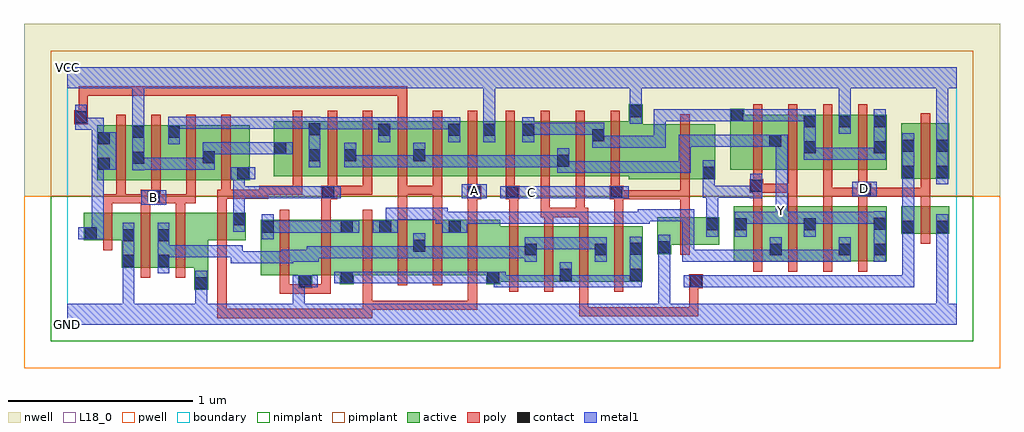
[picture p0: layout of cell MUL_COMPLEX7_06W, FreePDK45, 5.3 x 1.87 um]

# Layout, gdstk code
import gdstk
lib = gdstk.Library(unit=1e-6, precision=1e-09)
def R(c, l, rs):  # rectangles x0, y0, x1, y1
    for r in rs: c.add(gdstk.rectangle(r[:2], r[2:], *l))
def A(c, l, x, y, w, h, nx, ny, dx, dy):  # array of equal rectangles
    R(c, l, [(x+i*dx, y+j*dy, x+i*dx+w, y+j*dy+h) for i in range(nx) for j in range(ny)])
active = (1, 0)
pwell = (2, 0)
nwell = (3, 0)
nimplant = (4, 0)
pimplant = (5, 0)
poly = (9, 0)
contact = (10, 0)
metal1 = (11, 0)
L18_0 = (18, 0)
boundary = (235, 0)

mul_complex7_06w = lib.new_cell('MUL_COMPLEX7_06W')
A(mul_complex7_06w, active, 2.48, 0.235, 0.265, 0.3, 3, 1, 0.19, 0)
A(mul_complex7_06w, active, 1.685, 0.807, 0.265, 0.3, 3, 1, 0.19, 0)
R(mul_complex7_06w, active, [(0.69,0.19,0.765,0.46), (1.255,0.2,1.33,0.55), (1.48,0.22,1.555,0.57), (2.275,0.22,2.35,0.405), (2.275,0.235,2.555,0.535), (2.67,0.235,2.745,0.42), (3.05,0.235,3.125,0.535), (1.05,0.27,1.33,0.57), (1.255,0.27,1.555,0.57), (1.48,0.27,1.765,0.57), (1.69,0.27,1.95,0.57), (1.875,0.27,2.142,0.57), (2.067,0.27,2.35,0.57), (0.295,0.31,0.56,0.61), (0.295,0.31,0.37,0.525), (0.485,0.31,0.765,0.61), (0.485,0.31,0.56,0.525), (1.05,0.33,1.125,0.57), (1.875,0.33,1.95,0.57), (2.48,0.33,2.555,0.447), (2.86,0.33,2.935,0.447), (1.69,0.345,1.765,0.57), (2.067,0.345,2.142,0.57), (3.62,0.345,3.695,0.645), (3.62,0.345,3.885,0.645), (3.81,0.345,3.885,0.645), (3.81,0.345,4.07,0.645), (3.995,0.345,4.26,0.645), (3.995,0.345,4.07,0.585), (4.185,0.345,4.45,0.645), (4.185,0.345,4.26,0.447), (4.375,0.345,4.45,0.645), (3.205,0.385,3.28,0.585), (3.205,0.435,3.54,0.585), (0.09,0.46,0.165,0.61), (0.09,0.46,0.37,0.61), (0.69,0.46,0.97,0.61), (0.895,0.46,0.97,0.61), (3.465,0.495,3.54,0.585), (4.53,0.495,4.605,0.645), (4.53,0.495,4.79,0.645), (4.715,0.495,4.79,0.645), (0.162,0.785,0.422,1.085), (0.162,0.785,0.237,1.055), (0.347,0.785,0.422,1.085), (0.347,0.785,0.617,1.085), (0.542,0.785,0.617,1.085), (0.542,0.785,0.807,1.085), (0.732,0.785,0.992,1.085), (0.732,0.785,0.807,1.055), (0.917,0.785,0.992,0.94), (3.05,0.79,3.52,1.09), (3.445,0.79,3.52,0.94), (4.53,0.795,4.79,1.095), (4.53,0.795,4.605,1.055), (4.715,0.795,4.79,1.055), (1.12,0.807,1.38,1.107), (1.12,0.807,1.195,1.07), (1.305,0.807,1.38,1.107), (1.305,0.807,1.575,1.107), (1.5,0.807,1.76,1.107), (1.5,0.807,1.575,1.055), (1.685,0.807,1.76,1.107), (2.255,0.807,2.54,1.107), (2.465,0.807,2.73,1.107), (2.655,0.807,2.92,1.107), (2.845,0.807,3.125,1.107), (3.6,0.842,3.882,1.142), (3.807,0.842,4.07,1.142), (3.995,0.842,4.26,1.142), (4.185,0.842,4.45,1.142), (4.375,0.842,4.45,1.142), (2.845,0.85,2.92,1.067), (2.065,0.852,2.14,1.107), (2.255,0.852,2.33,1.107), (2.655,0.855,2.73,1.07), (2.465,0.872,2.54,1.107), (1.875,0.885,1.95,1.055), (3.995,0.927,4.07,1.142), (3.807,0.962,3.882,1.07), (3.05,0.98,3.125,1.197), (3.6,0.995,3.675,1.175), (4.185,1.007,4.26,1.142)])
R(mul_complex7_06w, pwell, [(-0.235,-0.235,5.065,0.7)])
R(mul_complex7_06w, nwell, [(-0.235,0.7,5.065,1.635)])
R(mul_complex7_06w, nimplant, [(-0.09,-0.09,4.92,0.7)])
R(mul_complex7_06w, pimplant, [(-0.09,0.7,4.92,1.49)])
A(mul_complex7_06w, poly, 2.4, 0.18, 0.05, 0.41, 4, 1, 0.19, 0)
A(mul_complex7_06w, poly, 1.155, 0.215, 0.05, 0.41, 3, 1, 0.225, 0)
A(mul_complex7_06w, poly, 1.795, 0.215, 0.05, 0.41, 3, 1, 0.19, 0)
A(mul_complex7_06w, poly, 3.725, 0.29, 0.05, 0.41, 4, 2, 0.19, 0.497)
A(mul_complex7_06w, poly, 1.225, 0.707, 0.05, 0.095, 6, 1, 0.19, 0)
A(mul_complex7_06w, poly, 1.605, 0.707, 0.05, 0.05, 3, 1, 0.19, 0)
A(mul_complex7_06w, poly, 0.267, 0.73, 0.05, 0.41, 4, 1, 0.19, 0)
A(mul_complex7_06w, poly, 1.225, 0.752, 0.05, 0.41, 6, 1, 0.19, 0)
A(mul_complex7_06w, poly, 2.38, 0.752, 0.05, 0.41, 4, 1, 0.19, 0)
R(mul_complex7_06w, poly, [(0.815,0.037,0.865,0.087), (0.815,0.037,0.865,0.087), (0.815,0.037,0.865,0.087), (0.815,0.037,0.865,0.087), (0.815,0.037,0.865,0.087), (0.815,0.037,0.865,0.087), (0.815,0.037,0.865,0.087), (0.815,0.037,1.205,0.087), (0.815,0.037,0.865,0.455), (1.155,0.037,1.205,0.087), (1.155,0.037,1.205,0.087), (1.155,0.037,1.205,0.087), (1.155,0.037,1.337,0.087), (1.287,0.037,1.337,0.087), (1.287,0.037,1.337,0.087), (1.287,0.037,1.337,0.087), (1.287,0.037,1.655,0.087), (1.605,0.037,1.655,0.132), (1.605,0.037,1.655,0.087), (1.605,0.037,1.655,0.087), (1.605,0.037,1.655,0.087), (2.78,0.047,2.83,0.097), (2.78,0.047,2.83,0.097), (2.78,0.047,2.83,0.097), (2.78,0.047,3.155,0.097), (2.78,0.047,2.83,0.23), (3.105,0.047,3.155,0.097), (3.105,0.047,3.155,0.097), (3.105,0.047,3.155,0.097), (3.105,0.047,3.427,0.097), (3.377,0.047,3.427,0.097), (3.377,0.047,3.427,0.097), (3.377,0.047,3.427,0.097), (3.377,0.047,3.427,0.25), (1.605,0.082,1.655,0.132), (1.605,0.082,1.655,0.265), (1.605,0.082,1.845,0.132), (1.795,0.082,1.845,0.132), (1.795,0.082,1.845,0.132), (1.795,0.082,1.845,0.132), (1.795,0.082,1.977,0.132), (1.927,0.082,1.977,0.132), (1.927,0.082,1.977,0.132), (1.927,0.082,1.977,0.132), (1.927,0.082,2.225,0.132), (2.175,0.082,2.225,0.132), (2.175,0.082,2.225,0.132), (2.175,0.082,2.225,0.132), (2.175,0.082,2.225,0.265), (1.155,0.17,1.205,0.265), (1.155,0.17,1.205,0.22), (1.155,0.17,1.43,0.22), (1.38,0.17,1.43,0.265), (1.38,0.17,1.43,0.22), (1.38,0.17,1.43,0.22), (1.38,0.17,1.43,0.22), (3.377,0.2,3.452,0.275), (0.4,0.255,0.45,0.665), (0.59,0.255,0.64,0.665), (3.33,0.38,3.38,0.64), (0.195,0.405,0.245,0.665), (0.815,0.405,0.865,0.665), (4.635,0.44,4.685,0.7), (2.4,0.54,2.45,0.732), (2.59,0.54,2.64,0.635), (2.78,0.54,2.83,0.635), (2.97,0.54,3.02,0.732), (1.38,0.575,1.43,0.732), (1.795,0.575,1.845,0.757), (1.985,0.575,2.035,0.757), (2.175,0.575,2.225,0.732), (2.57,0.585,2.62,0.802), (2.57,0.585,2.64,0.635), (2.59,0.585,2.64,0.635), (2.59,0.585,2.64,0.635), (2.59,0.585,2.81,0.635), (2.76,0.585,2.81,0.802), (2.76,0.585,2.83,0.635), (3.33,0.59,3.38,0.732), (0.195,0.615,0.245,0.71), (0.4,0.615,0.45,0.71), (0.59,0.615,0.64,0.71), (0.815,0.615,0.865,0.735), (3.725,0.65,3.775,0.767), (3.915,0.65,3.965,0.767), (4.105,0.65,4.155,0.745), (4.295,0.65,4.345,0.745), (4.635,0.65,4.685,0.745), (0.195,0.66,0.317,0.71), (0.267,0.66,0.317,0.71), (0.267,0.66,0.317,0.71), (0.267,0.66,0.317,0.78), (0.267,0.66,0.45,0.71), (0.4,0.66,0.507,0.735), (0.457,0.66,0.507,0.71), (0.457,0.66,0.507,0.71), (0.457,0.66,0.64,0.71), (0.59,0.66,0.697,0.71), (0.647,0.66,0.697,0.78), (1.38,0.682,1.465,0.757), (2.172,0.682,2.247,0.757), (2.38,0.682,2.455,0.757), (2.945,0.682,3.02,0.757), (2.97,0.682,3.02,0.732), (2.97,0.682,3.02,0.732), (2.97,0.682,3.38,0.732), (3.33,0.682,3.38,0.732), (3.33,0.682,3.38,0.732), (3.33,0.682,3.38,0.732), (3.33,0.682,3.38,0.785), (0.457,0.685,0.507,0.78), (0.815,0.685,0.887,0.735), (0.837,0.685,0.887,0.78), (0.837,0.685,0.887,0.735), (0.837,0.685,0.887,0.735), (0.837,0.685,1.092,0.735), (1.042,0.685,1.092,0.757), (4.105,0.695,4.155,0.745), (4.105,0.695,4.155,0.745), (4.105,0.695,4.155,0.745), (4.105,0.695,4.342,0.745), (4.105,0.695,4.155,0.837), (4.292,0.695,4.367,0.77), (4.317,0.695,4.367,0.745), (4.317,0.695,4.367,0.745), (4.317,0.695,4.685,0.745), (4.635,0.695,4.685,0.79), (4.635,0.695,4.685,0.745), (4.635,0.695,4.685,0.745), (4.635,0.695,4.685,0.745), (1.042,0.707,1.275,0.757), (1.225,0.707,1.275,0.757), (1.415,0.707,1.655,0.757), (1.605,0.707,1.655,0.757), (1.605,0.707,1.655,0.757), (1.795,0.707,2.035,0.757), (1.985,0.707,2.035,0.757), (1.985,0.707,2.035,0.757), (2.38,0.707,2.43,0.802), (2.95,0.707,3,0.802), (3.705,0.717,3.78,0.792), (3.73,0.717,3.78,0.767), (3.73,0.717,3.78,0.767), (3.73,0.717,3.965,0.767), (3.915,0.717,3.965,0.767), (3.915,0.717,3.965,0.837), (4.295,0.72,4.345,0.837), (3.33,0.735,3.38,1.145), (4.635,0.74,4.685,1.15), (3.725,0.742,3.775,0.837), (0.037,1.09,0.112,1.165), (1.795,1.112,1.845,1.295), (0.062,1.115,0.112,1.295), (0.062,1.245,0.112,1.295), (0.062,1.245,0.112,1.295), (0.062,1.245,0.112,1.295), (0.062,1.245,0.317,1.295), (0.267,1.245,0.317,1.295), (0.267,1.245,0.317,1.295), (0.267,1.245,0.317,1.295), (0.267,1.245,0.507,1.295), (0.457,1.245,0.507,1.295), (0.457,1.245,0.507,1.295), (0.457,1.245,0.507,1.295), (0.457,1.245,0.64,1.295), (0.59,1.245,0.64,1.295), (0.59,1.245,0.64,1.295), (0.59,1.245,0.64,1.295), (0.59,1.245,0.83,1.295), (0.78,1.245,0.83,1.295), (0.78,1.245,0.83,1.295), (0.78,1.245,0.83,1.295), (0.78,1.245,1.205,1.295), (1.155,1.245,1.205,1.295), (1.155,1.245,1.205,1.295), (1.155,1.245,1.205,1.295), (1.155,1.245,1.337,1.295), (1.287,1.245,1.337,1.295), (1.287,1.245,1.337,1.295), (1.287,1.245,1.337,1.295), (1.287,1.245,1.655,1.295), (1.605,1.245,1.655,1.295), (1.605,1.245,1.655,1.295), (1.605,1.245,1.655,1.295), (1.605,1.245,1.845,1.295), (1.795,1.245,1.845,1.295), (1.795,1.245,1.845,1.295), (1.795,1.245,1.845,1.295)])
A(mul_complex7_06w, contact, 4, 1.072, 0.065, 0.065, 3, 1, 0.19, 0)
R(mul_complex7_06w, contact, [(0.695,0.195,0.76,0.26), (1.26,0.205,1.325,0.27), (3.382,0.205,3.447,0.27), (1.485,0.225,1.55,0.29), (2.28,0.225,2.345,0.29), (2.675,0.24,2.74,0.305), (3.055,0.24,3.12,0.305), (0.3,0.315,0.365,0.38), (0.49,0.315,0.555,0.38), (2.485,0.377,2.55,0.442), (2.865,0.377,2.93,0.442), (3.815,0.377,3.88,0.442), (4.19,0.377,4.255,0.442), (4.38,0.377,4.445,0.442), (3.055,0.38,3.12,0.445), (3.21,0.39,3.275,0.455), (1.88,0.397,1.945,0.462), (0.3,0.455,0.365,0.52), (0.49,0.455,0.555,0.52), (0.095,0.465,0.16,0.53), (1.055,0.5,1.12,0.565), (1.485,0.5,1.55,0.565), (1.695,0.5,1.76,0.565), (2.072,0.5,2.137,0.565), (4.535,0.5,4.6,0.565), (4.72,0.5,4.785,0.565), (3.47,0.515,3.535,0.58), (3.625,0.515,3.69,0.58), (4,0.515,4.065,0.58), (4.38,0.517,4.445,0.582), (0.9,0.54,0.965,0.605), (0.437,0.665,0.502,0.73), (1.385,0.687,1.45,0.752), (2.177,0.687,2.242,0.752), (2.385,0.687,2.45,0.752), (2.95,0.687,3.015,0.752), (4.297,0.7,4.362,0.765), (3.71,0.722,3.775,0.787), (0.922,0.79,0.987,0.855), (3.45,0.795,3.515,0.86), (4.535,0.8,4.6,0.865), (4.72,0.8,4.785,0.865), (0.167,0.842,0.232,0.907), (2.66,0.86,2.725,0.925), (0.352,0.875,0.417,0.94), (0.737,0.877,0.802,0.942), (1.31,0.89,1.375,0.955), (1.505,0.89,1.57,0.955), (1.88,0.89,1.945,0.955), (1.125,0.927,1.19,0.992), (4,0.932,4.065,0.997), (4.38,0.932,4.445,0.997), (4.535,0.94,4.6,1.005), (4.72,0.94,4.785,1.005), (3.812,0.967,3.877,1.032), (0.167,0.982,0.232,1.047), (2.85,0.997,2.915,1.062), (0.352,1.015,0.417,1.08), (0.547,1.015,0.612,1.08), (1.69,1.027,1.755,1.092), (2.07,1.027,2.135,1.092), (2.26,1.027,2.325,1.092), (2.47,1.027,2.535,1.092), (1.31,1.03,1.375,1.095), (0.042,1.095,0.107,1.16), (3.605,1.105,3.67,1.17), (3.055,1.127,3.12,1.192)])
R(mul_complex7_06w, metal1, [(0,0,4.83,0.115), (0.3,0.05,0.365,0.115), (0.3,0.05,0.365,0.115), (0.3,0.05,0.365,0.115), (0.3,0.05,0.365,0.115), (0.3,0.05,0.365,0.345), (0.695,0.05,0.76,0.115), (0.695,0.05,0.76,0.115), (0.695,0.05,0.76,0.225), (1.225,0.05,1.29,0.115), (1.225,0.05,1.29,0.115), (1.225,0.05,1.29,0.115), (1.225,0.05,1.29,0.115), (1.225,0.05,1.29,0.27), (3.21,0.05,3.275,0.115), (3.21,0.05,3.275,0.115), (3.21,0.05,3.275,0.115), (3.21,0.05,3.275,0.115), (3.21,0.05,3.275,0.115), (3.21,0.05,3.275,0.115), (3.21,0.05,3.275,0.42), (4.72,0.05,4.785,0.115), (4.72,0.05,4.785,0.115), (4.72,0.05,4.785,0.115), (4.72,0.05,4.785,0.115), (4.72,0.05,4.785,0.115), (4.72,0.05,4.785,0.115), (4.72,0.05,4.785,0.53), (0.695,0.16,0.76,0.225), (0.695,0.16,0.76,0.225), (0.695,0.16,0.76,0.295), (1.225,0.205,1.36,0.27), (2.315,0.205,2.587,0.27), (2.315,0.205,2.38,0.29), (2.522,0.205,2.587,0.27), (2.522,0.205,2.622,0.27), (2.557,0.205,2.622,0.27), (2.557,0.205,2.74,0.27), (2.675,0.205,2.74,0.34), (2.675,0.205,2.76,0.27), (2.695,0.205,2.76,0.27), (2.695,0.205,2.982,0.27), (2.917,0.205,2.982,0.27), (2.917,0.205,2.982,0.27), (2.917,0.205,2.982,0.27), (2.917,0.205,3.12,0.27), (3.055,0.205,3.12,0.48), (3.347,0.205,3.482,0.27), (3.417,0.205,3.482,0.27), (3.417,0.205,3.482,0.27), (3.417,0.205,3.672,0.27), (3.607,0.205,3.672,0.27), (3.607,0.205,3.672,0.27), (3.607,0.205,3.672,0.27), (3.607,0.205,3.912,0.27), (3.847,0.205,3.912,0.27), (3.847,0.205,3.912,0.27), (3.847,0.205,3.912,0.27), (3.847,0.205,4.065,0.27), (4,0.205,4.065,0.27), (4,0.205,4.065,0.27), (4,0.205,4.065,0.27), (4,0.205,4.307,0.27), (4.242,0.205,4.307,0.27), (4.242,0.205,4.307,0.27), (4.242,0.205,4.307,0.27), (4.242,0.205,4.6,0.27), (4.535,0.205,4.6,0.27), (4.535,0.205,4.6,0.27), (4.535,0.205,4.6,0.27), (4.535,0.205,4.6,0.53), (1.45,0.225,1.585,0.29), (1.52,0.225,1.585,0.29), (1.52,0.225,1.585,0.29), (1.52,0.225,1.807,0.29), (1.742,0.225,1.807,0.29), (1.742,0.225,1.807,0.29), (1.742,0.225,1.807,0.29), (1.742,0.225,1.965,0.29), (1.9,0.225,1.965,0.29), (1.9,0.225,1.965,0.29), (1.9,0.225,1.965,0.29), (1.9,0.225,2.102,0.29), (2.037,0.225,2.102,0.29), (2.037,0.225,2.202,0.29), (2.137,0.225,2.202,0.29), (2.137,0.225,2.31,0.29), (2.245,0.225,2.38,0.29), (2.315,0.225,2.38,0.29), (0.3,0.28,0.365,0.555), (0.49,0.28,0.555,0.555), (0.887,0.335,0.952,0.4), (0.887,0.335,0.952,0.4), (0.887,0.335,1.227,0.4), (0.887,0.335,0.952,0.432), (1.162,0.335,1.227,0.407), (1.162,0.342,1.365,0.407), (1.3,0.342,1.365,0.427), (2.485,0.342,2.55,0.477), (2.865,0.342,2.93,0.477), (3.34,0.342,3.405,0.407), (3.34,0.342,3.412,0.407), (3.34,0.342,3.405,0.627), (3.347,0.342,3.412,0.407), (3.347,0.342,3.672,0.407), (3.607,0.342,3.672,0.407), (3.607,0.342,3.672,0.407), (3.607,0.342,3.672,0.407), (3.607,0.342,3.88,0.407), (3.815,0.342,3.88,0.477), (3.815,0.342,3.912,0.407), (3.847,0.342,3.912,0.407), (3.847,0.342,4.05,0.407), (3.985,0.342,4.05,0.407), (3.985,0.342,4.05,0.407), (3.985,0.342,4.05,0.407), (3.985,0.342,4.255,0.407), (4.19,0.342,4.255,0.477), (4.38,0.342,4.445,0.617), (3.21,0.355,3.275,0.49), (1.3,0.362,1.365,0.427), (1.3,0.362,1.365,0.427), (1.3,0.362,1.515,0.427), (1.45,0.362,1.515,0.427), (1.45,0.362,1.515,0.427), (1.45,0.362,1.515,0.427), (1.45,0.362,1.807,0.427), (1.742,0.362,1.807,0.427), (1.742,0.362,1.807,0.427), (1.742,0.362,1.807,0.427), (1.742,0.362,1.945,0.427), (1.88,0.362,1.945,0.427), (1.88,0.362,1.945,0.427), (1.88,0.362,1.945,0.497), (1.88,0.362,2.172,0.427), (2.107,0.362,2.172,0.427), (2.107,0.362,2.202,0.427), (2.137,0.362,2.202,0.427), (2.137,0.362,2.38,0.427), (2.315,0.362,2.38,0.427), (2.315,0.362,2.38,0.427), (2.315,0.362,2.38,0.427), (2.315,0.362,2.55,0.427), (0.49,0.367,0.555,0.432), (0.49,0.367,0.555,0.432), (0.49,0.367,0.815,0.432), (0.75,0.367,0.815,0.432), (0.75,0.367,0.815,0.432), (0.75,0.367,0.815,0.432), (0.75,0.367,0.952,0.432), (2.485,0.412,2.622,0.477), (2.557,0.412,2.622,0.477), (2.557,0.412,2.777,0.477), (2.712,0.412,2.777,0.477), (2.712,0.412,2.777,0.477), (2.712,0.412,2.777,0.477), (2.712,0.412,2.93,0.477), (0.06,0.465,0.195,0.53), (0.13,0.465,0.195,0.53), (0.13,0.465,0.197,0.53), (0.132,0.465,0.197,0.907), (1.055,0.465,1.12,0.6), (4.535,0.465,4.6,0.6), (4.72,0.465,4.785,0.6), (3.47,0.48,3.535,0.615), (3.625,0.48,3.69,0.615), (4,0.48,4.065,0.615), (1.055,0.5,1.12,0.565), (1.055,0.5,1.12,0.565), (1.055,0.5,1.365,0.565), (1.3,0.5,1.365,0.565), (1.3,0.5,1.365,0.565), (1.3,0.5,1.365,0.565), (1.3,0.5,1.515,0.565), (1.45,0.5,1.585,0.565), (1.66,0.5,1.795,0.565), (1.73,0.5,1.795,0.565), (1.73,0.5,1.795,0.635), (2.037,0.5,2.172,0.615), (0.9,0.505,0.965,0.64), (4.535,0.535,4.6,0.6), (4.535,0.535,4.6,0.6), (4.535,0.535,4.6,0.6), (4.535,0.535,4.6,0.6), (4.535,0.535,4.6,0.83), (2,0.55,2.065,0.635), (2,0.55,2.102,0.615), (2.107,0.55,2.202,0.615), (2.137,0.55,2.202,0.615), (2.137,0.55,2.38,0.615), (2.315,0.55,2.38,0.615), (2.315,0.55,2.38,0.615), (2.315,0.55,2.38,0.615), (2.315,0.55,2.517,0.615), (2.452,0.55,2.517,0.615), (2.452,0.55,2.622,0.615), (2.557,0.55,2.622,0.615), (2.557,0.55,2.777,0.615), (2.712,0.55,2.777,0.615), (2.712,0.55,2.777,0.615), (2.712,0.55,2.777,0.615), (2.712,0.55,2.915,0.615), (2.85,0.55,2.915,0.615), (2.85,0.55,2.915,0.615), (2.85,0.55,2.915,0.615), (2.85,0.55,3.162,0.615), (3.097,0.55,3.162,0.627), (3.47,0.55,3.535,0.755), (3.625,0.55,3.69,0.615), (3.625,0.55,3.69,0.615), (3.625,0.55,3.912,0.615), (3.847,0.55,3.912,0.615), (3.847,0.55,3.912,0.615), (3.847,0.55,3.912,0.615), (3.847,0.55,3.912,0.615), (3.847,0.55,4.065,0.615), (3.847,0.55,3.912,0.687), (4,0.55,4.065,0.615), (4,0.55,4.065,0.615), (4,0.55,4.307,0.615), (4.242,0.55,4.307,0.615), (4.242,0.55,4.445,0.615), (4.38,0.55,4.445,0.615), (4.38,0.55,4.445,0.615), (3.097,0.562,3.162,0.627), (3.097,0.562,3.162,0.627), (3.097,0.562,3.405,0.627), (3.34,0.562,3.405,0.627), (1.73,0.57,1.965,0.635), (1.9,0.57,1.965,0.635), (1.9,0.57,2.065,0.635), (0.9,0.575,0.965,0.752), (3.847,0.622,3.912,1.032), (0.402,0.652,0.537,0.73), (0.9,0.687,0.965,0.752), (0.9,0.687,0.965,0.752), (0.9,0.687,0.965,0.752), (0.9,0.687,1.227,0.752), (0.9,0.687,0.965,0.855), (1.162,0.687,1.227,0.752), (1.162,0.687,1.377,0.752), (1.312,0.687,1.377,0.752), (1.312,0.687,1.415,0.752), (1.35,0.687,1.485,0.752), (2.142,0.687,2.277,0.765), (2.35,0.687,2.485,0.752), (2.42,0.687,2.517,0.752), (2.452,0.687,2.587,0.752), (2.522,0.687,2.622,0.752), (2.557,0.687,2.622,0.752), (2.557,0.687,2.777,0.752), (2.712,0.687,2.777,0.752), (2.712,0.687,2.777,0.752), (2.712,0.687,2.777,0.752), (2.712,0.687,2.98,0.752), (2.915,0.687,2.98,0.752), (2.915,0.687,2.98,0.752), (2.915,0.687,3.05,0.752), (3.71,0.687,3.775,0.822), (3.45,0.69,3.515,0.825), (3.45,0.69,3.535,0.755), (3.47,0.69,3.635,0.755), (3.57,0.69,3.635,0.755), (3.57,0.69,3.775,0.755), (4.262,0.7,4.397,0.777), (3.45,0.76,3.515,0.895), (4.535,0.765,4.6,1.04), (4.72,0.765,4.785,1.04), (0.887,0.79,1.022,0.855), (2.66,0.825,2.725,0.96), (2.66,0.825,2.76,0.89), (2.695,0.825,2.76,0.89), (2.695,0.825,2.915,0.89), (2.85,0.825,2.915,0.89), (2.85,0.825,2.915,0.89), (2.85,0.825,2.915,0.89), (2.85,0.825,3.247,0.89), (3.182,0.825,3.247,0.89), (3.182,0.825,3.247,0.89), (3.182,0.825,3.247,0.89), (3.182,0.825,3.385,0.89), (3.32,0.825,3.385,0.89), (3.32,0.825,3.385,1.032), (0.352,0.84,0.417,0.905), (0.352,0.84,0.417,1.115), (0.352,0.84,0.417,0.907), (0.132,0.842,0.197,0.907), (0.132,0.842,0.197,0.907), (0.132,0.842,0.267,1.047), (0.352,0.842,0.417,0.907), (0.352,0.842,0.417,0.907), (0.352,0.842,0.555,0.907), (0.49,0.842,0.555,0.907), (0.49,0.842,0.555,0.907), (0.49,0.842,0.555,0.907), (0.49,0.842,0.802,0.907), (0.737,0.842,0.802,0.977), (1.31,0.855,1.375,1.13), (1.505,0.855,1.57,0.92), (1.505,0.855,1.57,0.92), (1.505,0.855,1.57,0.99), (1.505,0.855,1.807,0.92), (1.742,0.855,1.807,0.92), (1.742,0.855,1.807,0.92), (1.742,0.855,1.807,0.92), (1.742,0.855,1.945,0.92), (1.88,0.855,1.945,0.92), (1.88,0.855,1.945,0.92), (1.88,0.855,1.945,0.99), (1.88,0.855,2.172,0.92), (2.107,0.855,2.172,0.92), (2.107,0.855,2.202,0.92), (2.137,0.855,2.202,0.92), (2.137,0.855,2.34,0.92), (2.275,0.855,2.34,0.92), (2.275,0.855,2.34,0.92), (2.275,0.855,2.34,0.92), (2.275,0.855,2.517,0.92), (2.452,0.855,2.517,0.92), (2.452,0.855,2.622,0.92), (2.557,0.855,2.622,0.92), (2.557,0.855,2.725,0.92), (4,0.897,4.065,0.962), (4,0.897,4.065,0.962), (4,0.897,4.065,0.962), (4,0.897,4.065,0.962), (4,0.897,4.065,1.172), (4,0.897,4.202,0.962), (4.137,0.897,4.202,0.962), (4.137,0.897,4.202,0.962), (4.137,0.897,4.202,0.962), (4.137,0.897,4.445,0.962), (4.38,0.897,4.445,1.172), (0.737,0.912,0.802,0.977), (0.737,0.912,0.802,0.992), (0.737,0.927,0.952,0.992), (0.887,0.927,0.952,0.992), (0.887,0.927,1.155,0.992), (1.09,0.927,1.225,0.992), (2.85,0.962,2.915,1.027), (2.85,0.962,2.915,1.027), (2.85,0.962,2.915,1.097), (2.85,0.962,3.247,1.027), (3.182,0.962,3.247,1.027), (3.182,0.962,3.247,1.027), (3.182,0.962,3.25,1.027), (3.185,0.962,3.25,1.17), (3.32,0.967,3.385,1.032), (3.32,0.967,3.412,1.032), (3.347,0.967,3.412,1.032), (3.347,0.967,3.672,1.032), (3.607,0.967,3.672,1.032), (3.607,0.967,3.672,1.032), (3.607,0.967,3.672,1.032), (3.607,0.967,3.842,1.032), (3.777,0.967,3.842,1.032), (3.777,0.967,3.842,1.032), (3.777,0.967,3.912,1.032), (4.72,0.975,4.785,1.04), (4.72,0.975,4.785,1.04), (4.72,0.975,4.785,1.35), (0.547,0.98,0.612,1.115), (0.132,0.982,0.197,1.125), (1.69,0.992,1.755,1.127), (2.07,0.992,2.135,1.127), (2.26,0.992,2.325,1.127), (2.47,0.992,2.535,1.127), (2.47,1.032,2.622,1.097), (2.557,1.032,2.622,1.097), (2.557,1.032,2.777,1.097), (2.712,1.032,2.777,1.097), (2.712,1.032,2.777,1.097), (2.712,1.032,2.777,1.097), (2.712,1.032,2.915,1.097), (4.19,1.037,4.255,1.172), (0.352,1.05,0.417,1.35), (0.547,1.05,0.612,1.115), (0.547,1.05,0.612,1.13), (0.042,1.06,0.107,1.195), (0.042,1.06,0.197,1.125), (0.132,1.06,0.197,1.125), (1.31,1.062,1.375,1.127), (1.31,1.062,1.375,1.127), (1.31,1.062,1.515,1.127), (1.45,1.062,1.515,1.127), (1.45,1.062,1.515,1.127), (1.45,1.062,1.515,1.127), (1.45,1.062,1.755,1.127), (1.69,1.062,1.755,1.127), (1.69,1.062,1.755,1.127), (1.69,1.062,1.965,1.127), (1.9,1.062,1.965,1.127), (1.9,1.062,1.965,1.127), (1.9,1.062,1.965,1.127), (1.9,1.062,2.135,1.127), (2.26,1.062,2.325,1.35), (0.547,1.065,0.75,1.13), (0.685,1.065,0.75,1.13), (0.685,1.065,0.75,1.13), (0.685,1.065,0.75,1.13), (0.685,1.065,0.952,1.13), (0.887,1.065,0.952,1.13), (0.887,1.065,1.152,1.13), (1.087,1.065,1.152,1.13), (1.087,1.065,1.152,1.13), (1.087,1.065,1.152,1.13), (1.087,1.065,1.375,1.13), (3.055,1.092,3.12,1.227), (3.185,1.105,3.25,1.17), (3.185,1.105,3.497,1.17), (3.432,1.105,3.497,1.17), (3.432,1.105,3.497,1.17), (3.432,1.105,3.497,1.17), (3.432,1.105,3.635,1.17), (3.57,1.105,3.705,1.17), (3.64,1.105,3.705,1.17), (3.64,1.105,3.705,1.17), (3.64,1.105,3.912,1.17), (3.847,1.105,3.912,1.17), (3.847,1.105,3.912,1.17), (3.847,1.105,3.912,1.17), (3.847,1.105,4.065,1.17), (4.19,1.107,4.255,1.172), (4.19,1.107,4.255,1.172), (4.19,1.107,4.255,1.35), (3.055,1.162,3.12,1.35), (0,1.285,4.83,1.4), (0.352,1.285,0.417,1.35), (0.352,1.285,0.417,1.35), (2.26,1.285,2.325,1.35), (2.26,1.285,2.325,1.35), (3.055,1.285,3.12,1.35), (3.055,1.285,3.12,1.35)])
R(mul_complex7_06w, L18_0, [(0,0,4.83,0.115), (0.3,0.05,0.365,0.115), (0.3,0.05,0.365,0.115), (0.3,0.05,0.365,0.115), (0.3,0.05,0.365,0.115), (0.3,0.05,0.365,0.345), (0.695,0.05,0.76,0.115), (0.695,0.05,0.76,0.115), (0.695,0.05,0.76,0.225), (1.225,0.05,1.29,0.115), (1.225,0.05,1.29,0.115), (1.225,0.05,1.29,0.115), (1.225,0.05,1.29,0.115), (1.225,0.05,1.29,0.27), (3.21,0.05,3.275,0.115), (3.21,0.05,3.275,0.115), (3.21,0.05,3.275,0.115), (3.21,0.05,3.275,0.115), (3.21,0.05,3.275,0.115), (3.21,0.05,3.275,0.115), (3.21,0.05,3.275,0.42), (4.72,0.05,4.785,0.115), (4.72,0.05,4.785,0.115), (4.72,0.05,4.785,0.115), (4.72,0.05,4.785,0.115), (4.72,0.05,4.785,0.115), (4.72,0.05,4.785,0.115), (4.72,0.05,4.785,0.53), (0.695,0.16,0.76,0.225), (0.695,0.16,0.76,0.225), (0.695,0.16,0.76,0.295), (1.225,0.205,1.36,0.27), (0.3,0.28,0.365,0.555), (4.38,0.342,4.445,0.617), (3.21,0.355,3.275,0.49), (4.72,0.465,4.785,0.6), (3.625,0.48,3.69,0.615), (4,0.48,4.065,0.615), (3.625,0.55,3.69,0.615), (3.625,0.55,3.69,0.615), (3.625,0.55,3.912,0.615), (3.847,0.55,3.912,0.615), (3.847,0.55,3.912,0.615), (3.847,0.55,3.912,0.615), (3.847,0.55,3.912,0.615), (3.847,0.55,3.912,0.687), (3.847,0.55,4.065,0.615), (4,0.55,4.065,0.615), (4,0.55,4.065,0.615), (4,0.55,4.307,0.615), (4.242,0.55,4.307,0.615), (4.242,0.55,4.445,0.615), (4.38,0.55,4.445,0.615), (4.38,0.55,4.445,0.615), (3.847,0.587,3.912,0.652), (3.847,0.622,3.912,1.032), (0.402,0.652,0.537,0.73), (0.437,0.657,0.502,0.722), (2.142,0.687,2.277,0.765), (2.35,0.687,2.485,0.752), (2.42,0.687,2.517,0.752), (2.452,0.687,2.587,0.752), (2.487,0.687,2.552,0.752), (2.522,0.687,2.622,0.752), (2.557,0.687,2.622,0.752), (2.557,0.687,2.777,0.752), (2.712,0.687,2.777,0.752), (2.712,0.687,2.777,0.752), (2.712,0.687,2.777,0.752), (2.712,0.687,2.98,0.752), (2.915,0.687,2.98,0.752), (2.915,0.687,2.98,0.752), (2.915,0.687,3.05,0.752), (2.177,0.697,2.242,0.762), (4.262,0.7,4.397,0.777), (4.297,0.707,4.362,0.772), (4.72,0.765,4.785,1.04), (2.66,0.825,2.725,0.96), (2.66,0.825,2.76,0.89), (2.695,0.825,2.76,0.89), (2.695,0.825,2.915,0.89), (2.85,0.825,2.915,0.89), (2.85,0.825,2.915,0.89), (2.85,0.825,2.915,0.89), (2.85,0.825,3.247,0.89), (3.182,0.825,3.247,0.89), (3.182,0.825,3.247,0.89), (3.182,0.825,3.247,0.89), (3.182,0.825,3.385,0.89), (3.32,0.825,3.385,0.89), (3.32,0.825,3.385,1.032), (0.352,0.84,0.417,0.905), (0.352,0.84,0.417,1.115), (0.352,0.84,0.417,0.907), (0.352,0.842,0.417,0.907), (0.352,0.842,0.417,0.907), (0.352,0.842,0.555,0.907), (0.49,0.842,0.555,0.907), (0.49,0.842,0.555,0.907), (0.49,0.842,0.555,0.907), (0.49,0.842,0.802,0.907), (0.737,0.842,0.802,0.977), (1.505,0.855,1.57,0.92), (1.505,0.855,1.57,0.92), (1.505,0.855,1.57,0.99), (1.505,0.855,1.807,0.92), (1.742,0.855,1.807,0.92), (1.742,0.855,1.807,0.92), (1.742,0.855,1.807,0.92), (1.742,0.855,1.945,0.92), (1.88,0.855,1.945,0.92), (1.88,0.855,1.945,0.92), (1.88,0.855,1.945,0.99), (1.88,0.855,2.172,0.92), (2.107,0.855,2.172,0.92), (2.107,0.855,2.202,0.92), (2.137,0.855,2.202,0.92), (2.137,0.855,2.34,0.92), (2.275,0.855,2.34,0.92), (2.275,0.855,2.34,0.92), (2.275,0.855,2.34,0.92), (2.275,0.855,2.517,0.92), (2.452,0.855,2.517,0.92), (2.452,0.855,2.622,0.92), (2.557,0.855,2.622,0.92), (2.557,0.855,2.725,0.92), (0.737,0.912,0.802,0.977), (0.737,0.912,0.802,0.992), (0.737,0.927,0.952,0.992), (0.887,0.927,0.952,0.992), (0.887,0.927,1.155,0.992), (1.09,0.927,1.225,0.992), (3.32,0.967,3.385,1.032), (3.32,0.967,3.412,1.032), (3.347,0.967,3.412,1.032), (3.347,0.967,3.672,1.032), (3.607,0.967,3.672,1.032), (3.607,0.967,3.672,1.032), (3.607,0.967,3.672,1.032), (3.607,0.967,3.842,1.032), (3.777,0.967,3.842,1.032), (3.777,0.967,3.842,1.032), (3.777,0.967,3.912,1.032), (4.72,0.975,4.785,1.04), (4.72,0.975,4.785,1.04), (4.72,0.975,4.785,1.35), (2.26,0.992,2.325,1.127), (4.19,1.037,4.255,1.172), (0.352,1.05,0.417,1.35), (2.26,1.062,2.325,1.35), (3.055,1.092,3.12,1.227), (4.19,1.107,4.255,1.172), (4.19,1.107,4.255,1.172), (4.19,1.107,4.255,1.35), (3.055,1.162,3.12,1.35), (0,1.285,4.83,1.4), (0.352,1.285,0.417,1.35), (0.352,1.285,0.417,1.35), (2.26,1.285,2.325,1.35), (2.26,1.285,2.325,1.35), (3.055,1.285,3.12,1.35), (3.055,1.285,3.12,1.35)])
R(mul_complex7_06w, boundary, [(0,0,4.83,1.4)])
mul_complex7_06w.add(gdstk.Label('A', (2.21,0.73), layer=11, texttype=0))
mul_complex7_06w.add(gdstk.Label('B', (0.47,0.69), layer=11, texttype=0))
mul_complex7_06w.add(gdstk.Label('C', (2.52,0.72), layer=11, texttype=0))
mul_complex7_06w.add(gdstk.Label('D', (4.33,0.74), layer=11, texttype=0))
mul_complex7_06w.add(gdstk.Label('Y', (3.88,0.62), layer=11, texttype=0))
mul_complex7_06w.add(gdstk.Label('VCC', (0,1.4), layer=11, texttype=0))
mul_complex7_06w.add(gdstk.Label('GND', (0,0), layer=11, texttype=0))

lib.write_gds('MUL_COMPLEX7_06W.gds')
